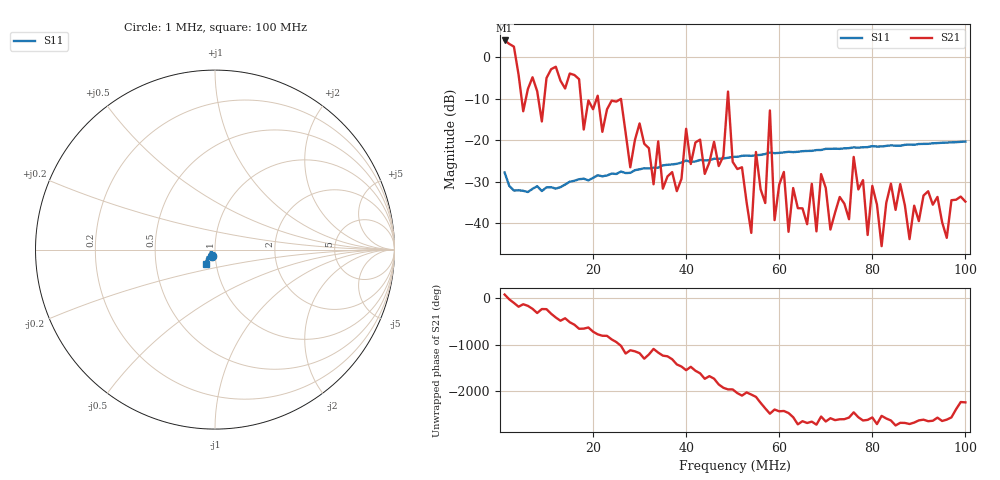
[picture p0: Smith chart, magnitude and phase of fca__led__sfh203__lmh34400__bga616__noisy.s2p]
# HZ S RI R 50
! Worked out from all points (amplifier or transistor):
!   100 points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, 1 MHz to 100 MHz, reference 50 ohm
!   highest |S21| = 4.0 dB at 1 MHz (marker M1)
!   |S21| within 3 dB of that: start of sweep to 3.223 MHz
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1000001  -0.0173 -0.0368  0.3059 1.555  0 0  0 0
2000001  -0.019 -0.0207  1.311 -0.5985  0 0  0 0
3000001  -0.018 -0.0168  -0.2719 -1.306  0 0  0 0
4000001  -0.0192 -0.0158  -0.6125 0.04  0 0  0 0
7000001  -0.0205 -0.0158  -0.3763 0.4294  0 0  0 0
1.2e7  -0.019 -0.0178  0.4269 -0.6341  0 0  0 0
1.5e7  -0.0226 -0.022  -0.5866 -0.2392  0 0  0 0
1.8e7  -0.0246 -0.0239  0.0581 0.1207  0 0  0 0
3.4e7  -0.0285 -0.0367  -0.0034 -0.0964  0 0  0 0
4.7e7  -0.035 -0.0481  0.0253 -0.0415  0 0  0 0
4.9e7  -0.0432 -0.0433  -0.3716 -0.0976  0 0  0 0
5.1e7  -0.0364 -0.0513  -0.0188 0.0407  0 0  0 0
5.4e7  -0.0373 -0.0527  0.000833 0.00758  0 0  0 0
5.5e7  -0.0376 -0.054  0.0597 0.0401  0 0  0 0
5.7e7  -0.0387 -0.0559  -0.0144 0.00984  0 0  0 0
5.8e7  -0.0463 -0.0538  0.1947 0.1174  0 0  0 0
5.9e7  -0.0404 -0.0566  -0.00563 0.00929  0 0  0 0
6.7e7  -0.0412 -0.0617  -0.0227 -0.0192  0 0  0 0
7.6e7  -0.0452 -0.0679  0.0306 0.0547  0 0  0 0
8.2e7  -0.0481 -0.0686  0.00508 -0.00142  0 0  0 0
8.4e7  -0.0494 -0.0709  -0.0127 -0.027  0 0  0 0
1e8  -0.0528 -0.0803  0.00169 -0.0181  0 0  0 0
